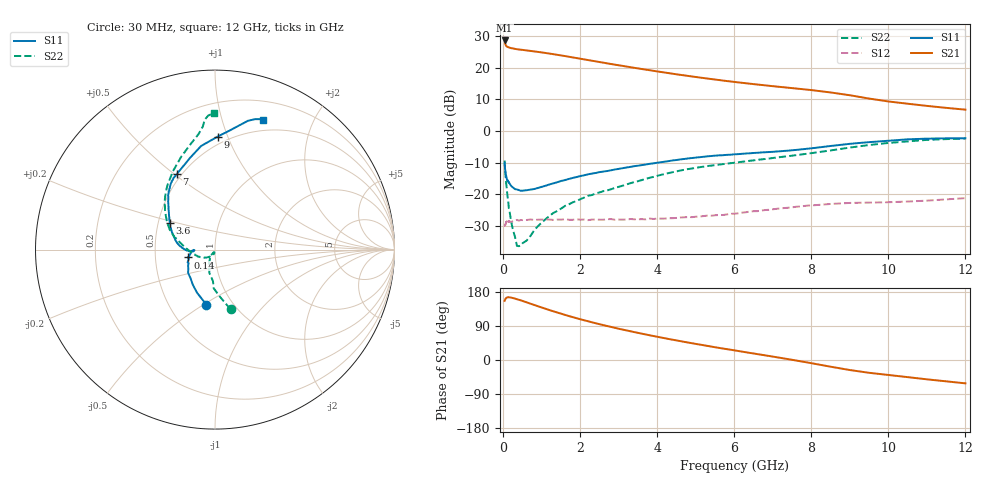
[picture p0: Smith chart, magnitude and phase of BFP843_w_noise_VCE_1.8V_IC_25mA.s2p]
! (c) 2013  Infineon Technologies AG, Munich
! Infineon Technologies  Discrete & RF Semiconductors
! BFP843
! VCE =  1.8 V,  IC =  25 mA
! Common Emitter S-Parameters:  Aug 2013
# GHz  S  MA  R  50
!  f  S11  S21  S12  S22
! GHz  MAG  ANG  MAG  ANG  MAG  ANG  MAG  ANG
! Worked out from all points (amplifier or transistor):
!   103 points, 30 MHz to 12 GHz, reference 50 ohm
!   highest |S21| = 28.6 dB at 30 MHz (marker M1)
!   |S21| within 3 dB of that: start of sweep to 508.3 MHz
!   unconditionally stable (mu >= 1): 111.8 MHz to 10.73 GHz
!   at 400 MHz: K = 1.03, MAG = 25.9 dB, |S12| = -28.2 dB
!   at 3.7 GHz: K = 1.38, MAG = 20.0 dB, |S12| = -27.9 dB
!   at 12 GHz: K = 0.86, MSG = 14.0 dB, |S12| = -21.1 dB
!   lowest NFmin = 1.12 dB at 450 MHz
!   S11 on the Smith chart (normalised r, x): 30 MHz: 0.76, -0.52; 140 MHz: 0.73, -0.07; 3.6 GHz: 0.58, +0.18; 7 GHz: 0.47, +0.51; 9 GHz: 0.44, +0.92; 12 GHz: 0.38, +1.37
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0.03  0.3107 -98.8  26.92 156.1  0.0311 28.3  0.3434 -75.4
0.04  0.2606 -112.5  24.64 158.3  0.0336 18.3  0.265 -83.9
0.05  0.2309 -122.5  23.46 161.3  0.0335 5.2  0.2151 -92.0
0.07  0.1983 -139.1  22.07 163.7  0.0369 13.3  0.1504 -98.6
0.1  0.1654 -152.8  21.35 165.3  0.0379 11.2  0.1003 -111.4
0.14  0.1581 -163.9  20.9 165.5  0.0369 6.5  0.0606 -117.3
0.2  0.1364 -171.9  20.34 164.7  0.0369 8.2  0.0375 -125.9
0.4  0.1174 -178.8  19.38 158.9  0.0387 5.0  0.0153 -110.5
0.9  0.1269 -175.7  17.75 141.7  0.04 2.5  0.0319 -112.7
1.2  0.1444 -176.3  16.7 131.6  0.0402 2.4  0.0462 -124.8
1.6  0.169 179.6  15.26 119.0  0.0408 2.6  0.0661 -137.2
2.1  0.2013 173.0  13.52 104.7  0.0402 2.1  0.0896 -152.0
2.9  0.2482 160.7  11.16 84.8  0.0399 4.4  0.1275 -170.9
3.6  0.2914 149.8  9.526 69.4  0.0408 6.2  0.1694 174.9
4.1  0.3234 142.5  8.55 59.2  0.0416 7.4  0.2046 167.4
5  0.3822 132.9  7.135 42.4  0.0446 10.2  0.2638 158.1
6.1  0.4336 125.2  5.87 23.7  0.0505 11.8  0.3226 147.2
7  0.4713 116.7  5.113 8.9  0.0584 10.8  0.3766 138.0
8.5  0.5827 97.6  4.07 -17.7  0.0709 1.9  0.4954 118.2
9  0.6302 88.6  3.677 -26.5  0.0736 -1.5  0.5499 110.1
10.5  0.7414 75.6  2.704 -45.2  0.0774 -8.8  0.6878 95.7
12  0.7711 69.6  2.181 -61.6  0.0876 -16.0  0.761 90.5
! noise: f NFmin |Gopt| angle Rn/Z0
0.45  1.12  0.15  -173  0.07
0.9  1.12  0.15  -165  0.1
1.5  1.14  0.16  -158  0.19
1.9  1.16  0.16  -147  0.24
2.4  1.18  0.16  -135  0.31
3.5  1.22  0.17  -119  0.36
5.5  1.33  0.29  -107  0.47
10  1.9  0.53  -59  0.64
